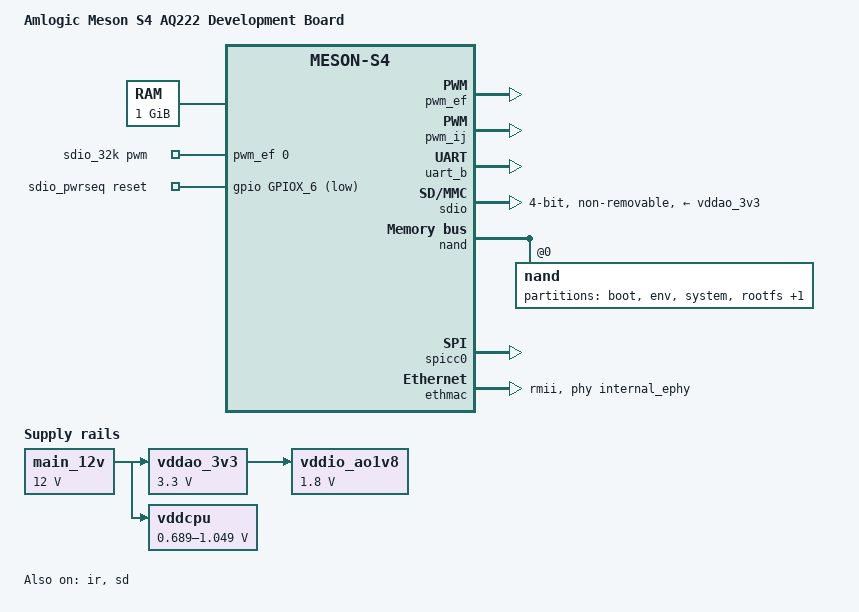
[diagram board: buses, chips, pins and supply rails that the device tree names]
// SPDX-License-Identifier: (GPL-2.0+ OR MIT)
/*
 * Copyright (c) 2021 Amlogic, Inc. All rights reserved.
 */

/dts-v1/;

#include "meson-s4.dtsi"

/ {
	model = "Amlogic Meson S4 AQ222 Development Board";
	compatible = "amlogic,aq222", "amlogic,s4";
	interrupt-parent = <&gic>;
	#address-cells = <2>;
	#size-cells = <2>;

	aliases {
		serial0 = &uart_b;
	};

	memory@0 {
		device_type = "memory";
		reg = <0x0 0x0 0x0 0x40000000>;
	};

	reserved-memory {
		#address-cells = <2>;
		#size-cells = <2>;
		ranges;

		/* 52 MiB reserved for ARM Trusted Firmware */
		secmon_reserved: secmon@5000000 {
			reg = <0x0 0x05000000 0x0 0x3400000>;
			no-map;
		};
	};

	sdio_32k: sdio-32k {
		compatible = "pwm-clock";
		#clock-cells = <0>;
		clock-frequency = <32768>;
		pwms = <&pwm_ef 0 30518 0>; /* PWM_E at 32.768KHz */
	};

	sdio_pwrseq: sdio-pwrseq {
		compatible = "mmc-pwrseq-simple";
		reset-gpios = <&gpio GPIOX_6 GPIO_ACTIVE_LOW>;
		clocks = <&sdio_32k>;
		clock-names = "ext_clock";
	};

	main_12v: regulator-main-12v {
		compatible = "regulator-fixed";
		regulator-name = "12V";
		regulator-min-microvolt = <12000000>;
		regulator-max-microvolt = <12000000>;
		regulator-always-on;
	};

	vddao_3v3: regulator-vddao-3v3 {
		compatible = "regulator-fixed";
		regulator-name = "VDDAO_3V3";
		regulator-min-microvolt = <3300000>;
		regulator-max-microvolt = <3300000>;
		vin-supply = <&main_12v>;
		regulator-always-on;
	};

	vddio_ao1v8: regulator-vddio-ao1v8 {
	       compatible = "regulator-fixed";
	       regulator-name = "VDDIO_AO1V8";
	       regulator-min-microvolt = <1800000>;
	       regulator-max-microvolt = <1800000>;
	       vin-supply = <&vddao_3v3>;
	       regulator-always-on;
	};

	/* SY8120B1ABC DC/DC Regulator. */
	vddcpu: regulator-vddcpu {
		compatible = "pwm-regulator";

		regulator-name = "VDDCPU";
		regulator-min-microvolt = <689000>;
		regulator-max-microvolt = <1049000>;

		vin-supply = <&main_12v>;

		pwms = <&pwm_ij 1 1500 0>;
		pwm-dutycycle-range = <100 0>;

		regulator-boot-on;
		regulator-always-on;
		/* Voltage Duty-Cycle */
		voltage-table = <1049000 0>,
				<1039000 3>,
				<1029000 6>,
				<1019000 9>,
				<1009000 12>,
				<999000 14>,
				<989000 17>,
				<979000 20>,
				<969000 23>,
				<959000 26>,
				<949000 29>,
				<939000 31>,
				<929000 34>,
				<919000 37>,
				<909000 40>,
				<899000 43>,
				<889000 45>,
				<879000 48>,
				<869000 51>,
				<859000 54>,
				<849000 56>,
				<839000 59>,
				<829000 62>,
				<819000 65>,
				<809000 68>,
				<799000 70>,
				<789000 73>,
				<779000 76>,
				<769000 79>,
				<759000 81>,
				<749000 84>,
				<739000 87>,
				<729000 89>,
				<719000 92>,
				<709000 95>,
				<699000 98>,
				<689000 100>;
	};
};

&pwm_ef {
	status = "okay";
	pinctrl-0 = <&pwm_e_pins1>;
	pinctrl-names = "default";
};

&pwm_ij {
	status = "okay";
};

&uart_b {
	status = "okay";
};

&ir {
	status = "okay";
	pinctrl-0 = <&remote_pins>;
	pinctrl-names = "default";
};

&sdio {
	pinctrl-0 = <&sdio_pins>;
	pinctrl-1 = <&sdio_clk_gate_pins>;
	pinctrl-names = "default", "clk-gate";
	#address-cells = <1>;
	#size-cells = <0>;
	bus-width = <4>;
	cap-sd-highspeed;
	sd-uhs-sdr50;
	sd-uhs-sdr104;
	max-frequency = <200000000>;
	non-removable;
	disable-wp;
	no-sd;
	no-mmc;
	vmmc-supply = <&vddao_3v3>;
	vqmmc-supply = <&vddio_ao1v8>;
};

&sd {
	status = "okay";
	pinctrl-0 = <&sdcard_pins>;
	pinctrl-1 = <&sdcard_clk_gate_pins>;
	pinctrl-names = "default", "clk-gate";
	bus-width = <4>;
	cap-sd-highspeed;
	max-frequency = <200000000>;
	disable-wp;

	cd-gpios = <&gpio GPIOC_6 GPIO_ACTIVE_LOW>;
	vmmc-supply = <&vddao_3v3>;
	vqmmc-supply = <&vddao_3v3>;
};

&nand {
	status = "okay";
	#address-cells = <1>;
	#size-cells = <0>;

	pinctrl-0 = <&nand_pins>;
	pinctrl-names = "default";

	nand@0 {
		reg = <0>;
		#address-cells = <1>;
		#size-cells = <1>;

		nand-on-flash-bbt;

		partition@0 {
			label = "boot";
			reg = <0x0 0x00200000>;
		};
		partition@200000 {
			label = "env";
			reg = <0x00200000 0x00400000>;
		};
		partition@600000 {
			label = "system";
			reg = <0x00600000 0x00a00000>;
		};
		partition@1000000 {
			label = "rootfs";
			reg = <0x01000000 0x03000000>;
		};
		partition@4000000 {
			label = "media";
			reg = <0x04000000 0x8000000>;
		};
	};
};

&spicc0 {
	status = "okay";
	pinctrl-names = "default";
	pinctrl-0 = <&spicc0_pins_x>;
	cs-gpios = <&gpio GPIOX_10 GPIO_ACTIVE_LOW>;
};

&ethmac {
	status = "okay";
	phy-handle = <&internal_ephy>;
	phy-mode = "rmii";
};
